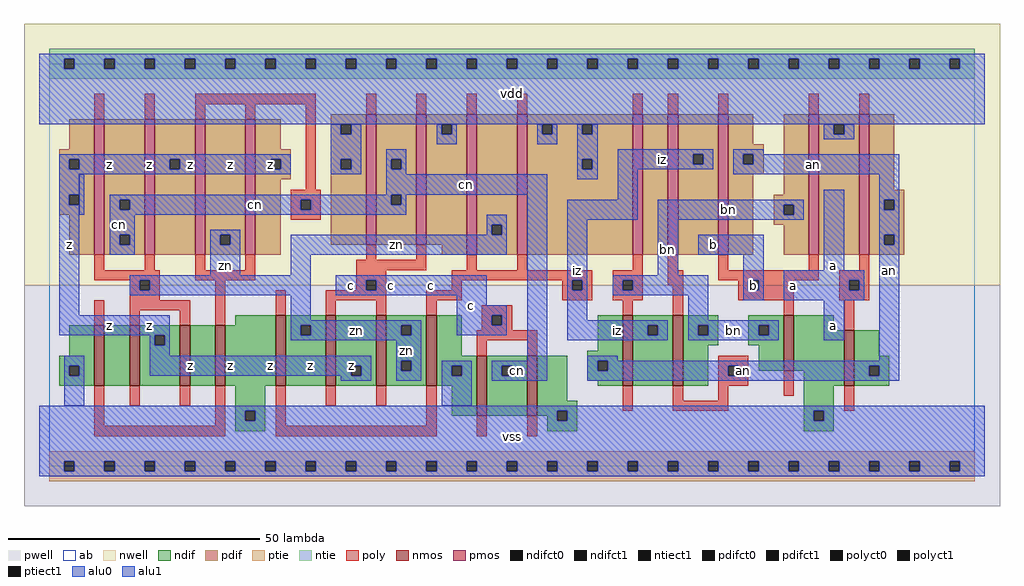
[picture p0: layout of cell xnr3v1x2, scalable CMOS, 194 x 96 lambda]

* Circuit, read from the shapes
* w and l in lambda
.subckt xnr3v1x2 a an b bn c cn iz vdd vss z zn
M1 n1 cn vss vss nfet w=12 l=2
M2 z zn n1 vss nfet w=12 l=2
M3 n2 zn z vss nfet w=12 l=2
M4 vss cn n2 vss nfet w=12 l=2
M5 zn iz vss vss nfet w=14 l=2 m=2
M6 z c zn vss nfet w=14 l=2 m=2
M7 cn c vss vss nfet w=12 l=2 m=2
M8 iz bn an vss nfet w=14 l=2
M9 bn an iz vss nfet w=14 l=2
M10 vss b bn vss nfet w=11 l=2
M11 an a vss vss nfet w=11 l=2
M12 cn zn z vdd pfet w=27 l=2 m=2
M13 zn cn z vdd pfet w=27 l=2 m=2
M14 cn c vdd vdd pfet w=26 l=2 m=2
M15 zn iz vdd vdd pfet w=28 l=2 m=2
M16 n3 bn vdd vdd pfet w=28 l=2
M17 iz an n3 vdd pfet w=28 l=2
M18 an b iz vdd pfet w=28 l=2
M19 vdd b bn vdd pfet w=28 l=2
M20 an a vdd vdd pfet w=28 l=2
.ends

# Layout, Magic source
magic
tech scmos
<< ab >>
rect 0 0 184 80
<< nwell >>
rect -5 36 189 88
<< pwell >>
rect -5 -8 189 36
<< poly >>
rect 9 69 11 74
rect 19 69 21 74
rect 29 72 53 74
rect 29 69 31 72
rect 39 69 41 72
rect 51 55 53 72
rect 63 70 65 74
rect 73 70 75 74
rect 83 70 85 74
rect 93 70 95 74
rect 116 70 118 74
rect 123 70 125 74
rect 133 70 135 74
rect 151 70 153 74
rect 161 70 163 74
rect 48 53 54 55
rect 48 51 50 53
rect 52 51 54 53
rect 48 49 54 51
rect 9 39 11 42
rect 19 39 21 42
rect 29 39 31 42
rect 39 39 41 42
rect 63 41 65 44
rect 73 41 75 44
rect 9 37 22 39
rect 29 37 41 39
rect 61 39 75 41
rect 83 39 85 42
rect 93 39 95 42
rect 116 39 118 42
rect 61 37 67 39
rect 16 35 18 37
rect 20 35 22 37
rect 16 33 22 35
rect 9 28 11 33
rect 16 31 28 33
rect 16 28 18 31
rect 26 28 28 31
rect 33 28 35 37
rect 61 35 63 37
rect 65 35 67 37
rect 80 37 108 39
rect 80 35 82 37
rect 45 30 47 35
rect 55 33 67 35
rect 55 30 57 33
rect 65 30 67 33
rect 75 33 82 35
rect 102 35 104 37
rect 106 35 108 37
rect 102 33 108 35
rect 112 37 118 39
rect 112 35 114 37
rect 116 35 118 37
rect 123 39 125 42
rect 133 39 135 42
rect 151 39 153 42
rect 161 39 163 42
rect 123 36 126 39
rect 133 37 153 39
rect 157 37 163 39
rect 112 33 118 35
rect 75 30 77 33
rect 86 30 92 32
rect 114 30 116 33
rect 124 30 126 36
rect 137 35 139 37
rect 141 35 148 37
rect 137 33 148 35
rect 157 35 159 37
rect 161 35 163 37
rect 157 33 163 35
rect 146 30 148 33
rect 86 28 88 30
rect 90 28 92 30
rect 86 27 92 28
rect 85 25 97 27
rect 85 22 87 25
rect 95 22 97 25
rect 9 8 11 16
rect 16 12 18 16
rect 26 12 28 16
rect 33 8 35 16
rect 9 6 35 8
rect 45 8 47 16
rect 55 12 57 16
rect 65 12 67 16
rect 75 8 77 16
rect 133 20 139 22
rect 133 18 135 20
rect 137 18 139 20
rect 158 27 160 33
rect 133 16 139 18
rect 114 11 116 16
rect 124 13 126 16
rect 133 13 135 16
rect 146 14 148 19
rect 124 11 135 13
rect 158 11 160 16
rect 45 6 77 8
rect 85 6 87 10
rect 95 6 97 10
<< ndif >>
rect 37 28 45 30
rect 4 22 9 28
rect 2 20 9 22
rect 2 18 4 20
rect 6 18 9 20
rect 2 16 9 18
rect 11 16 16 28
rect 18 26 26 28
rect 18 24 21 26
rect 23 24 26 26
rect 18 16 26 24
rect 28 16 33 28
rect 35 16 45 28
rect 47 28 55 30
rect 47 26 50 28
rect 52 26 55 28
rect 47 16 55 26
rect 57 20 65 30
rect 57 18 60 20
rect 62 18 65 20
rect 57 16 65 18
rect 67 28 75 30
rect 67 26 70 28
rect 72 26 75 28
rect 67 21 75 26
rect 67 19 70 21
rect 72 19 75 21
rect 67 16 75 19
rect 77 22 82 30
rect 109 23 114 30
rect 77 20 85 22
rect 77 18 80 20
rect 82 18 85 20
rect 77 16 85 18
rect 37 11 43 16
rect 37 9 39 11
rect 41 9 43 11
rect 37 7 43 9
rect 80 10 85 16
rect 87 20 95 22
rect 87 18 90 20
rect 92 18 95 20
rect 87 10 95 18
rect 97 13 103 22
rect 107 21 114 23
rect 107 19 109 21
rect 111 19 114 21
rect 107 17 114 19
rect 109 16 114 17
rect 116 28 124 30
rect 116 26 119 28
rect 121 26 124 28
rect 116 16 124 26
rect 126 28 133 30
rect 126 26 129 28
rect 131 26 133 28
rect 126 24 133 26
rect 139 28 146 30
rect 139 26 141 28
rect 143 26 146 28
rect 139 24 146 26
rect 126 16 131 24
rect 141 19 146 24
rect 148 27 156 30
rect 148 19 158 27
rect 97 11 105 13
rect 150 16 158 19
rect 160 22 165 27
rect 160 20 167 22
rect 160 18 163 20
rect 165 18 167 20
rect 160 16 167 18
rect 150 11 156 16
rect 97 10 101 11
rect 99 9 101 10
rect 103 9 105 11
rect 99 7 105 9
rect 150 9 152 11
rect 154 9 156 11
rect 150 7 156 9
<< pdif >>
rect 4 63 9 69
rect 2 61 9 63
rect 2 59 4 61
rect 6 59 9 61
rect 2 54 9 59
rect 2 52 4 54
rect 6 52 9 54
rect 2 50 9 52
rect 4 42 9 50
rect 11 53 19 69
rect 11 51 14 53
rect 16 51 19 53
rect 11 46 19 51
rect 11 44 14 46
rect 16 44 19 46
rect 11 42 19 44
rect 21 61 29 69
rect 21 59 24 61
rect 26 59 29 61
rect 21 42 29 59
rect 31 46 39 69
rect 31 44 34 46
rect 36 44 39 46
rect 31 42 39 44
rect 41 63 46 69
rect 41 61 48 63
rect 41 59 44 61
rect 46 59 48 61
rect 41 57 48 59
rect 41 42 46 57
rect 56 68 63 70
rect 56 66 58 68
rect 60 66 63 68
rect 56 61 63 66
rect 56 59 58 61
rect 60 59 63 61
rect 56 44 63 59
rect 65 61 73 70
rect 65 59 68 61
rect 70 59 73 61
rect 65 54 73 59
rect 65 52 68 54
rect 70 52 73 54
rect 65 44 73 52
rect 75 68 83 70
rect 75 66 78 68
rect 80 66 83 68
rect 75 44 83 66
rect 78 42 83 44
rect 85 48 93 70
rect 85 46 88 48
rect 90 46 93 48
rect 85 42 93 46
rect 95 68 116 70
rect 95 66 98 68
rect 100 66 106 68
rect 108 66 116 68
rect 95 61 116 66
rect 95 59 106 61
rect 108 59 116 61
rect 95 42 116 59
rect 118 42 123 70
rect 125 62 133 70
rect 125 60 128 62
rect 130 60 133 62
rect 125 42 133 60
rect 135 64 140 70
rect 135 62 142 64
rect 135 60 138 62
rect 140 60 142 62
rect 135 58 142 60
rect 135 42 140 58
rect 146 54 151 70
rect 144 52 151 54
rect 144 50 146 52
rect 148 50 151 52
rect 144 48 151 50
rect 146 42 151 48
rect 153 68 161 70
rect 153 66 156 68
rect 158 66 161 68
rect 153 42 161 66
rect 163 55 168 70
rect 163 53 170 55
rect 163 51 166 53
rect 168 51 170 53
rect 163 46 170 51
rect 163 44 166 46
rect 168 44 170 46
rect 163 42 170 44
<< alu1 >>
rect -2 81 186 82
rect -2 79 3 81
rect 5 79 11 81
rect 13 79 19 81
rect 21 79 27 81
rect 29 79 35 81
rect 37 79 43 81
rect 45 79 51 81
rect 53 79 59 81
rect 61 79 67 81
rect 69 79 75 81
rect 77 79 83 81
rect 85 79 91 81
rect 93 79 99 81
rect 101 79 107 81
rect 109 79 115 81
rect 117 79 123 81
rect 125 79 131 81
rect 133 79 139 81
rect 141 79 147 81
rect 149 79 155 81
rect 157 79 163 81
rect 165 79 171 81
rect 173 79 179 81
rect 181 79 186 81
rect -2 68 186 79
rect 2 61 48 62
rect 2 59 4 61
rect 6 59 24 61
rect 26 59 44 61
rect 46 59 48 61
rect 2 58 48 59
rect 2 54 6 58
rect 2 52 4 54
rect 2 30 6 52
rect 57 37 87 38
rect 57 35 63 37
rect 65 35 87 37
rect 57 34 87 35
rect 2 26 24 30
rect 20 24 21 26
rect 23 24 24 26
rect 81 32 87 34
rect 81 30 91 32
rect 81 28 88 30
rect 90 28 91 30
rect 81 26 91 28
rect 20 22 24 24
rect 20 20 64 22
rect 20 18 60 20
rect 62 18 64 20
rect 58 17 64 18
rect 129 42 142 46
rect 138 37 142 42
rect 154 39 158 55
rect 138 35 139 37
rect 141 35 142 37
rect 138 33 142 35
rect 146 37 162 39
rect 146 35 159 37
rect 161 35 162 37
rect 146 33 162 35
rect 154 25 158 33
rect -2 11 186 12
rect -2 9 39 11
rect 41 9 101 11
rect 103 9 152 11
rect 154 9 186 11
rect -2 1 186 9
rect -2 -1 3 1
rect 5 -1 11 1
rect 13 -1 19 1
rect 21 -1 27 1
rect 29 -1 35 1
rect 37 -1 43 1
rect 45 -1 51 1
rect 53 -1 59 1
rect 61 -1 67 1
rect 69 -1 75 1
rect 77 -1 83 1
rect 85 -1 91 1
rect 93 -1 99 1
rect 101 -1 107 1
rect 109 -1 115 1
rect 117 -1 123 1
rect 125 -1 131 1
rect 133 -1 139 1
rect 141 -1 147 1
rect 149 -1 155 1
rect 157 -1 163 1
rect 165 -1 171 1
rect 173 -1 179 1
rect 181 -1 186 1
rect -2 -2 186 -1
<< ptie >>
rect 0 1 184 3
rect 0 -1 3 1
rect 5 -1 11 1
rect 13 -1 19 1
rect 21 -1 27 1
rect 29 -1 35 1
rect 37 -1 43 1
rect 45 -1 51 1
rect 53 -1 59 1
rect 61 -1 67 1
rect 69 -1 75 1
rect 77 -1 83 1
rect 85 -1 91 1
rect 93 -1 99 1
rect 101 -1 107 1
rect 109 -1 115 1
rect 117 -1 123 1
rect 125 -1 131 1
rect 133 -1 139 1
rect 141 -1 147 1
rect 149 -1 155 1
rect 157 -1 163 1
rect 165 -1 171 1
rect 173 -1 179 1
rect 181 -1 184 1
rect 0 -3 184 -1
<< ntie >>
rect 0 81 184 83
rect 0 79 3 81
rect 5 79 11 81
rect 13 79 19 81
rect 21 79 27 81
rect 29 79 35 81
rect 37 79 43 81
rect 45 79 51 81
rect 53 79 59 81
rect 61 79 67 81
rect 69 79 75 81
rect 77 79 83 81
rect 85 79 91 81
rect 93 79 99 81
rect 101 79 107 81
rect 109 79 115 81
rect 117 79 123 81
rect 125 79 131 81
rect 133 79 139 81
rect 141 79 147 81
rect 149 79 155 81
rect 157 79 163 81
rect 165 79 171 81
rect 173 79 179 81
rect 181 79 184 81
rect 0 77 184 79
<< nmos >>
rect 9 16 11 28
rect 16 16 18 28
rect 26 16 28 28
rect 33 16 35 28
rect 45 16 47 30
rect 55 16 57 30
rect 65 16 67 30
rect 75 16 77 30
rect 85 10 87 22
rect 95 10 97 22
rect 114 16 116 30
rect 124 16 126 30
rect 146 19 148 30
rect 158 16 160 27
<< pmos >>
rect 9 42 11 69
rect 19 42 21 69
rect 29 42 31 69
rect 39 42 41 69
rect 63 44 65 70
rect 73 44 75 70
rect 83 42 85 70
rect 93 42 95 70
rect 116 42 118 70
rect 123 42 125 70
rect 133 42 135 70
rect 151 42 153 70
rect 161 42 163 70
<< polyct0 >>
rect 50 51 52 53
rect 18 35 20 37
rect 104 35 106 37
rect 114 35 116 37
rect 135 18 137 20
<< polyct1 >>
rect 63 35 65 37
rect 139 35 141 37
rect 159 35 161 37
rect 88 28 90 30
<< ndifct0 >>
rect 4 18 6 20
rect 50 26 52 28
rect 70 26 72 28
rect 70 19 72 21
rect 80 18 82 20
rect 90 18 92 20
rect 109 19 111 21
rect 119 26 121 28
rect 129 26 131 28
rect 141 26 143 28
rect 163 18 165 20
<< ndifct1 >>
rect 21 24 23 26
rect 60 18 62 20
rect 39 9 41 11
rect 101 9 103 11
rect 152 9 154 11
<< ntiect1 >>
rect 3 79 5 81
rect 11 79 13 81
rect 19 79 21 81
rect 27 79 29 81
rect 35 79 37 81
rect 43 79 45 81
rect 51 79 53 81
rect 59 79 61 81
rect 67 79 69 81
rect 75 79 77 81
rect 83 79 85 81
rect 91 79 93 81
rect 99 79 101 81
rect 107 79 109 81
rect 115 79 117 81
rect 123 79 125 81
rect 131 79 133 81
rect 139 79 141 81
rect 147 79 149 81
rect 155 79 157 81
rect 163 79 165 81
rect 171 79 173 81
rect 179 79 181 81
<< ptiect1 >>
rect 3 -1 5 1
rect 11 -1 13 1
rect 19 -1 21 1
rect 27 -1 29 1
rect 35 -1 37 1
rect 43 -1 45 1
rect 51 -1 53 1
rect 59 -1 61 1
rect 67 -1 69 1
rect 75 -1 77 1
rect 83 -1 85 1
rect 91 -1 93 1
rect 99 -1 101 1
rect 107 -1 109 1
rect 115 -1 117 1
rect 123 -1 125 1
rect 131 -1 133 1
rect 139 -1 141 1
rect 147 -1 149 1
rect 155 -1 157 1
rect 163 -1 165 1
rect 171 -1 173 1
rect 179 -1 181 1
<< pdifct0 >>
rect 14 51 16 53
rect 14 44 16 46
rect 34 44 36 46
rect 58 66 60 68
rect 58 59 60 61
rect 68 59 70 61
rect 68 52 70 54
rect 78 66 80 68
rect 88 46 90 48
rect 98 66 100 68
rect 106 66 108 68
rect 106 59 108 61
rect 128 60 130 62
rect 138 60 140 62
rect 146 50 148 52
rect 156 66 158 68
rect 166 51 168 53
rect 166 44 168 46
<< pdifct1 >>
rect 4 59 6 61
rect 4 52 6 54
rect 24 59 26 61
rect 44 59 46 61
<< alu0 >>
rect 56 66 58 68
rect 60 66 62 68
rect 56 61 62 66
rect 77 66 78 68
rect 80 66 81 68
rect 77 64 81 66
rect 97 66 98 68
rect 100 66 101 68
rect 97 64 101 66
rect 105 66 106 68
rect 108 66 109 68
rect 56 59 58 61
rect 60 59 62 61
rect 56 58 62 59
rect 67 61 71 63
rect 67 59 68 61
rect 70 59 71 61
rect 67 58 71 59
rect 105 61 109 66
rect 154 66 156 68
rect 158 66 160 68
rect 154 65 160 66
rect 105 59 106 61
rect 108 59 109 61
rect 6 50 7 58
rect 67 54 99 58
rect 105 57 109 59
rect 113 62 132 63
rect 113 60 128 62
rect 130 60 132 62
rect 113 59 132 60
rect 136 62 142 63
rect 136 60 138 62
rect 140 60 169 62
rect 12 53 68 54
rect 12 51 14 53
rect 16 51 50 53
rect 52 52 68 53
rect 70 52 71 54
rect 52 51 71 52
rect 12 50 71 51
rect 12 46 17 50
rect 87 48 91 50
rect 12 44 14 46
rect 16 44 17 46
rect 12 42 17 44
rect 32 46 38 47
rect 87 46 88 48
rect 90 46 91 48
rect 32 44 34 46
rect 36 44 38 46
rect 32 38 38 44
rect 48 42 91 46
rect 48 38 52 42
rect 16 37 52 38
rect 16 35 18 37
rect 20 35 52 37
rect 16 34 52 35
rect 48 29 52 34
rect 48 28 74 29
rect 48 26 50 28
rect 52 26 70 28
rect 72 26 74 28
rect 48 25 74 26
rect 3 20 7 22
rect 3 18 4 20
rect 6 18 7 20
rect 3 12 7 18
rect 69 21 74 25
rect 95 21 99 54
rect 113 53 117 59
rect 136 58 169 60
rect 103 49 117 53
rect 121 52 150 53
rect 121 50 146 52
rect 148 50 150 52
rect 121 49 150 50
rect 103 37 107 49
rect 121 38 125 49
rect 103 35 104 37
rect 106 35 107 37
rect 103 29 107 35
rect 112 37 131 38
rect 112 35 114 37
rect 116 35 131 37
rect 112 34 131 35
rect 127 29 131 34
rect 165 53 169 58
rect 165 51 166 53
rect 168 51 169 53
rect 165 46 169 51
rect 165 44 166 46
rect 168 44 169 46
rect 103 28 123 29
rect 103 26 119 28
rect 121 26 123 28
rect 103 25 123 26
rect 127 28 145 29
rect 127 26 129 28
rect 131 26 141 28
rect 143 26 145 28
rect 127 25 145 26
rect 69 19 70 21
rect 72 19 74 21
rect 69 17 74 19
rect 78 20 84 21
rect 78 18 80 20
rect 82 18 84 20
rect 78 12 84 18
rect 88 20 99 21
rect 88 18 90 20
rect 92 18 99 20
rect 88 17 99 18
rect 107 21 113 22
rect 165 21 169 44
rect 107 19 109 21
rect 111 20 169 21
rect 111 19 135 20
rect 107 18 135 19
rect 137 18 163 20
rect 165 18 169 20
rect 107 17 169 18
<< labels >>
rlabel alu0 14 48 14 48 6 cn
rlabel alu0 35 40 35 40 6 zn
rlabel alu0 41 52 41 52 6 cn
rlabel alu0 61 27 61 27 6 zn
rlabel alu0 71 23 71 23 6 zn
rlabel alu0 93 19 93 19 6 cn
rlabel alu0 69 44 69 44 6 zn
rlabel alu0 105 39 105 39 6 iz
rlabel alu0 83 56 83 56 6 cn
rlabel alu0 113 27 113 27 6 iz
rlabel alu0 136 27 136 27 6 bn
rlabel alu0 123 43 123 43 6 bn
rlabel alu0 122 61 122 61 6 iz
rlabel alu0 138 19 138 19 6 an
rlabel alu0 135 51 135 51 6 bn
rlabel alu0 167 39 167 39 6 an
rlabel alu0 152 60 152 60 6 an
rlabel alu1 28 20 28 20 6 z
rlabel alu1 36 20 36 20 6 z
rlabel alu1 20 28 20 28 6 z
rlabel alu1 12 28 12 28 6 z
rlabel alu1 4 44 4 44 6 z
rlabel alu1 12 60 12 60 6 z
rlabel alu1 20 60 20 60 6 z
rlabel alu1 28 60 28 60 6 z
rlabel alu1 36 60 36 60 6 z
rlabel alu1 52 20 52 20 6 z
rlabel alu1 60 20 60 20 6 z
rlabel alu1 44 20 44 20 6 z
rlabel alu1 76 36 76 36 6 c
rlabel alu1 84 32 84 32 6 c
rlabel alu1 68 36 68 36 6 c
rlabel alu1 60 36 60 36 6 c
rlabel alu1 44 60 44 60 6 z
rlabel alu1 92 6 92 6 6 vss
rlabel alu1 132 44 132 44 6 b
rlabel alu1 92 74 92 74 6 vdd
rlabel polyct1 140 36 140 36 6 b
rlabel alu1 148 36 148 36 6 a
rlabel alu1 156 28 156 28 6 a
rlabel alu1 156 40 156 40 6 a
<< end >>
